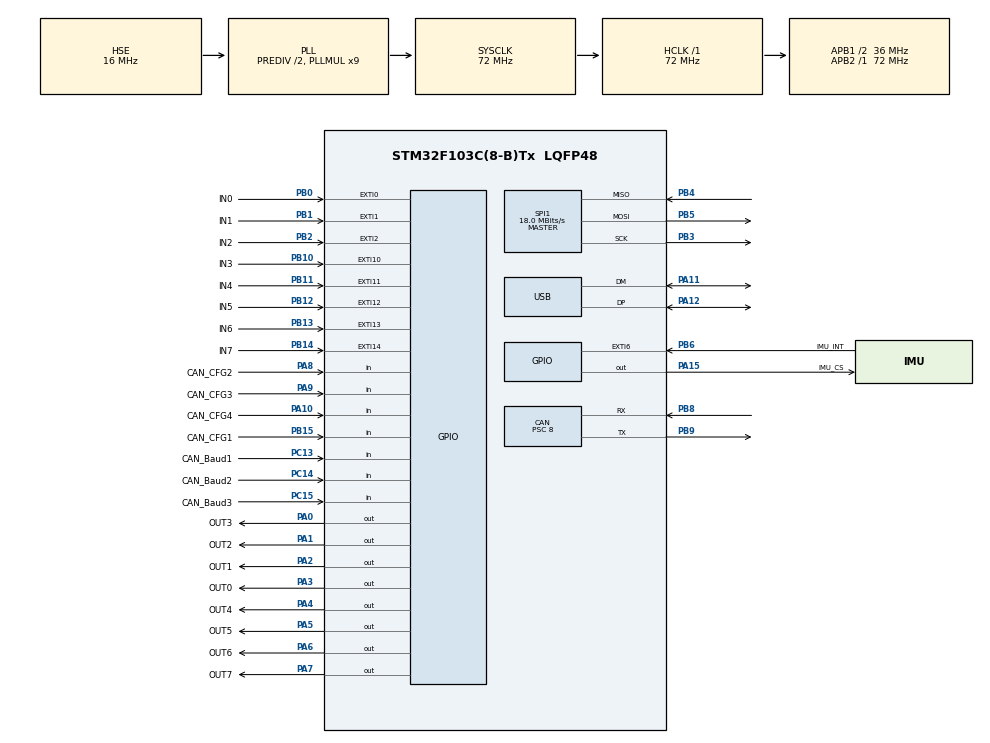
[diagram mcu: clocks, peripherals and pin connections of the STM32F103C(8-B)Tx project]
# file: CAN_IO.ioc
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CAN.BS1=CAN_BS1_5TQ
CAN.BS2=CAN_BS2_3TQ
CAN.CalculateBaudRate=500000
CAN.CalculateTimeBit=2000
CAN.CalculateTimeQuantum=222.22222222222223
CAN.Mode=CAN_MODE_NORMAL
CAN.Prescaler=8
Dma.Request0=SPI1_RX
Dma.Request1=SPI1_TX
Dma.SPI1_RX.0.Direction=DMA_PERIPH_TO_MEMORY
Dma.SPI1_RX.0.Instance=DMA1_Channel2
Dma.SPI1_RX.0.MemDataAlignment=DMA_MDATAALIGN_BYTE
Dma.SPI1_RX.0.MemInc=DMA_MINC_ENABLE
Dma.SPI1_RX.0.Mode=DMA_NORMAL
Dma.SPI1_RX.0.PeriphDataAlignment=DMA_PDATAALIGN_BYTE
Dma.SPI1_RX.0.PeriphInc=DMA_PINC_DISABLE
Dma.SPI1_RX.0.Priority=DMA_PRIORITY_MEDIUM
Dma.SPI1_TX.1.Direction=DMA_MEMORY_TO_PERIPH
Dma.SPI1_TX.1.Instance=DMA1_Channel3
Dma.SPI1_TX.1.MemDataAlignment=DMA_MDATAALIGN_BYTE
Dma.SPI1_TX.1.MemInc=DMA_MINC_ENABLE
Dma.SPI1_TX.1.Mode=DMA_NORMAL
Dma.SPI1_TX.1.PeriphDataAlignment=DMA_PDATAALIGN_BYTE
Dma.SPI1_TX.1.PeriphInc=DMA_PINC_DISABLE
Dma.SPI1_TX.1.Priority=DMA_PRIORITY_MEDIUM
Mcu.Family=STM32F1
Mcu.Name=STM32F103C(8-B)Tx
Mcu.Package=LQFP48
NVIC.CAN1_RX1_IRQn=true\:0\:0\:false\:false\:true\:true\:true\:true
NVIC.DMA1_Channel2_IRQn=true\:0\:0\:false\:false\:true\:false\:true\:true
NVIC.DMA1_Channel3_IRQn=true\:0\:0\:false\:false\:true\:false\:true\:true
NVIC.EXTI15_10_IRQn=true\:0\:0\:false\:false\:true\:true\:true\:true
NVIC.EXTI9_5_IRQn=true\:0\:0\:false\:false\:true\:true\:true\:true
NVIC.PriorityGroup=NVIC_PRIORITYGROUP_4
NVIC.TIM2_IRQn=true\:0\:0\:false\:false\:true\:true\:true\:true
NVIC.USB_LP_CAN1_RX0_IRQn=true\:0\:0\:false\:false\:true\:true\:true\:true
NimaLTD.I-CUBE-EE.3.2.2.DriverJjEE=true
NimaLTD.I-CUBE-EE.3.2.2.EE_MANUAL_CONFIG=false
PA0-WKUP.GPIO_Label=OUT3
PA0-WKUP.Signal=GPIO_Output
PA1.GPIO_Label=OUT2
PA1.PinState=GPIO_PIN_RESET
PA1.Signal=GPIO_Output
PA10.GPIO_Label=CAN_CFG4
PA10.GPIO_PuPd=GPIO_PULLUP
PA10.Signal=GPIO_Input
PA11.Mode=Device
PA11.Signal=USB_DM
PA12.Mode=Device
PA12.Signal=USB_DP
PA13.Mode=Serial_Wire
PA13.Signal=SYS_JTMS-SWDIO
PA14.Mode=Serial_Wire
PA14.Signal=SYS_JTCK-SWCLK
PA15.GPIO_Label=IMU_CS
PA15.PinState=GPIO_PIN_SET
PA15.Signal=GPIO_Output
PA2.GPIO_Label=OUT1
PA2.PinState=GPIO_PIN_RESET
PA2.Signal=GPIO_Output
PA3.GPIO_Label=OUT0
PA3.PinState=GPIO_PIN_RESET
PA3.Signal=GPIO_Output
PA4.GPIO_Label=OUT4
PA4.PinState=GPIO_PIN_RESET
PA4.Signal=GPIO_Output
PA5.GPIO_Label=OUT5
PA5.PinState=GPIO_PIN_RESET
PA5.Signal=GPIO_Output
PA6.GPIO_Label=OUT6
PA6.PinState=GPIO_PIN_RESET
PA6.Signal=GPIO_Output
PA7.GPIO_Label=OUT7
PA7.PinState=GPIO_PIN_RESET
PA7.Signal=GPIO_Output
PA8.GPIO_Label=CAN_CFG2
PA8.GPIO_PuPd=GPIO_PULLUP
PA8.Signal=GPIO_Input
PA9.GPIO_Label=CAN_CFG3
PA9.GPIO_PuPd=GPIO_PULLUP
PA9.Signal=GPIO_Input
PB0.GPIO_Label=IN0
PB0.Signal=GPXTI0
PB1.GPIO_Label=IN1
PB1.Signal=GPXTI1
PB10.GPIO_Label=IN3
PB10.Signal=GPXTI10
PB11.GPIO_Label=IN4
PB11.Signal=GPXTI11
PB12.GPIO_Label=IN5
PB12.Signal=GPXTI12
PB13.GPIO_Label=IN6
PB13.Signal=GPXTI13
PB14.GPIO_Label=IN7
PB14.Signal=GPXTI14
PB15.GPIO_Label=CAN_CFG1
PB15.Signal=GPIO_Input
PB2.GPIO_Label=IN2
PB2.Signal=GPXTI2
PB3.Mode=Full_Duplex_Master
PB3.Signal=SPI1_SCK
PB4.Mode=Full_Duplex_Master
PB4.Signal=SPI1_MISO
PB5.Mode=Full_Duplex_Master
PB5.Signal=SPI1_MOSI
PB6.GPIO_Label=IMU_INT
PB6.Signal=GPXTI6
PB8.Mode=CAN_Activate
PB8.Signal=CAN_RX
PB9.Mode=CAN_Activate
PB9.Signal=CAN_TX
PC13-TAMPER-RTC.GPIO_Label=CAN_Baud1
PC13-TAMPER-RTC.Signal=GPIO_Input
PC14-OSC32_IN.GPIO_Label=CAN_Baud2
PC14-OSC32_IN.Signal=GPIO_Input
PC15-OSC32_OUT.GPIO_Label=CAN_Baud3
PC15-OSC32_OUT.Signal=GPIO_Input
PD0-OSC_IN.Mode=HSE-External-Oscillator
PD0-OSC_IN.Signal=RCC_OSC_IN
PD1-OSC_OUT.Mode=HSE-External-Oscillator
PD1-OSC_OUT.Signal=RCC_OSC_OUT
ProjectManager.HeapSize=0x200
ProjectManager.StackSize=0x400
ProjectManager.TargetToolchain=STM32CubeIDE
RCC.AHBFreq_Value=72000000
RCC.APB1CLKDivider=RCC_HCLK_DIV2
RCC.APB1Freq_Value=36000000
RCC.APB1TimFreq_Value=72000000
RCC.APB2Freq_Value=72000000
RCC.APB2TimFreq_Value=72000000
RCC.HCLKFreq_Value=72000000
RCC.HSEDivPLL=RCC_HSE_PREDIV_DIV2
RCC.HSE_VALUE=16000000
RCC.PLLMUL=RCC_PLL_MUL9
RCC.PLLSourceVirtual=RCC_PLLSOURCE_HSE
RCC.SYSCLKFreq_VALUE=72000000
RCC.SYSCLKSource=RCC_SYSCLKSOURCE_PLLCLK
RCC.USBFreq_Value=48000000
RCC.USBPrescaler=RCC_USBCLKSOURCE_PLL_DIV1_5
SPI1.BaudRatePrescaler=SPI_BAUDRATEPRESCALER_4
SPI1.CalculateBaudRate=18.0 MBits/s
SPI1.Direction=SPI_DIRECTION_2LINES
SPI1.Mode=SPI_MODE_MASTER
SPI1.VirtualType=VM_MASTER
TIM2.AutoReloadPreload=TIM_AUTORELOAD_PRELOAD_ENABLE
TIM2.Period=1000-1
TIM2.Prescaler=72-1
USB_DEVICE.CLASS_NAME_FS=CDC
USB_DEVICE.VirtualMode=Cdc
USB_DEVICE.VirtualModeFS=Cdc_FS
VP_NimaLTD.I-CUBE-EE_VS_DriverJjEE_1.0.0_3.2.2.Mode=DriverJjEE
VP_TIM2_VS_ClockSourceINT.Mode=Internal
VP_USB_DEVICE_VS_USB_DEVICE_CDC_FS.Mode=CDC_FS
board=custom

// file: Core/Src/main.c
/* USER CODE BEGIN Header */
/**
  ******************************************************************************
  * @file           : main.c
  * @brief          : Main program body
  ******************************************************************************
  * @attention
  *
  * Copyright (c) 2024 STMicroelectronics.
  * All rights reserved.
  *
  * This software is licensed under terms that can be found in the LICENSE file
  * in the root directory of this software component.
  * If no LICENSE file comes with this software, it is provided AS-IS.
  *
  ******************************************************************************
  */
/* USER CODE END Header */
#include "main.h"
#include "usb_device.h"

/* USER CODE BEGIN Includes */
#include "hardware.h"
#include "usbd_cdc_if.h"
#include "string.h"
/* USER CODE END Includes */

CAN_HandleTypeDef hcan;

SPI_HandleTypeDef hspi1;
DMA_HandleTypeDef hdma_spi1_rx;
DMA_HandleTypeDef hdma_spi1_tx;

TIM_HandleTypeDef htim2;

void SystemClock_Config(void);
static void MX_GPIO_Init(void);
static void MX_DMA_Init(void);
static void MX_CAN_Init(void);
static void MX_SPI1_Init(void);
static void MX_TIM2_Init(void);

/* USER CODE BEGIN 0 */

// Debug used for USB testing
uint8_t tx_data_buffer[8];
uint8_t rx_data_buffer[2] = {0,0};
uint8_t count = 0;

/* USER CODE END 0 */

int main(void)
{

  /* MCU Configuration--------------------------------------------------------*/

  /* Reset of all peripherals, Initializes the Flash interface and the Systick. */
  HAL_Init();

  /* Configure the system clock */
  SystemClock_Config();

  /* Initialize all configured peripherals */
  MX_GPIO_Init();
  MX_DMA_Init();
  MX_CAN_Init();
  MX_SPI1_Init();
  MX_USB_DEVICE_Init();
  MX_TIM2_Init();
  /* USER CODE BEGIN 2 */
  hardware_init(&hcan,&hspi1);
//  setup_CAN_cfg();
//  HAL_CAN_Start(can.handler);
//  HAL_CAN_ActivateNotification(can.handler,CAN_IT_RX_FIFO1_MSG_PENDING);

  hardware.last_can_state_check_time = get_ms_timer();
  hardware.last_can_msg_time = get_ms_timer();
  hardware_monitoring();
//  can.state = CAN_STATE_OPERATIONAL;
//  can.target_state = CAN_STATE_OPERATIONAL;
  /* USER CODE END 2 */

  /* Infinite loop */
  /* USER CODE BEGIN WHILE */
  while (1)
  {
	  //test sends (DEBUG)
//	  if (diff_ms_timer(hardware.last_can_msg_time) >= 15){
//		  hardware.last_can_msg_time = get_ms_timer();
//
//		  tx_data_buffer[0] = 0x12;
//		  tx_data_buffer[1] = 0x23;
//		  tx_data_buffer[2] = 0x45;
//		  tx_data_buffer[3] = 0x56;
//		  tx_data_buffer[4] = 0x67;
//		  tx_data_buffer[5] = 0x78;
//		  tx_data_buffer[6] = 0x89;
//		  tx_data_buffer[7] = 0xAB;
//		  send_can_packet(TSDO, tx_data_buffer, 8);
//	  }

	  // ToDO:
	  // Create can_manager.c and .h file. Add tx buffer (T) Tested
	  // manage how to get data from structure and send (T)  Tested
	  // Handle pdo setup for interval based sends (T) Tested
	  // Handle pdo send on sync (T) Tested
	  // handle pdo on input change (T)
	  // handle pdo on threshold trigger (T)

	  // EEPROM;
	  // For each PDO store mapped indices and bytes per index
	  if (can.state == CAN_STATE_OPERATIONAL){
		  send_cyclic_pdo(&can.tpdo1);
		  send_cyclic_pdo(&can.tpdo2);
		  send_cyclic_pdo(&can.tpdo3);
		  send_cyclic_pdo(&can.tpdo4);

	  }

	  if (diff_ms_timer(hardware.last_save_config_check_time) >= 500){
		  hardware.last_save_config_check_time = get_ms_timer();
		  save_configuration();
	  }
	  if (diff_ms_timer(hardware.last_can_state_check_time) >= 200){
		  hardware.last_can_state_check_time = get_ms_timer();

		  can_state_manager();
	  }
    /* USER CODE END WHILE */

  }
}

void SystemClock_Config(void)
{
  RCC_OscInitTypeDef RCC_OscInitStruct = {0};
  RCC_ClkInitTypeDef RCC_ClkInitStruct = {0};
  RCC_PeriphCLKInitTypeDef PeriphClkInit = {0};

  /** Initializes the RCC Oscillators according to the specified parameters
  * in the RCC_OscInitTypeDef structure.
  */
  RCC_OscInitStruct.OscillatorType = RCC_OSCILLATORTYPE_HSE;
  RCC_OscInitStruct.HSEState = RCC_HSE_ON;
  RCC_OscInitStruct.HSEPredivValue = RCC_HSE_PREDIV_DIV2;
  RCC_OscInitStruct.HSIState = RCC_HSI_ON;
  RCC_OscInitStruct.PLL.PLLState = RCC_PLL_ON;
  RCC_OscInitStruct.PLL.PLLSource = RCC_PLLSOURCE_HSE;
  RCC_OscInitStruct.PLL.PLLMUL = RCC_PLL_MUL9;
  if (HAL_RCC_OscConfig(&RCC_OscInitStruct) != HAL_OK)
  {
    Error_Handler();
  }

  /** Initializes the CPU, AHB and APB buses clocks
  */
  RCC_ClkInitStruct.ClockType = RCC_CLOCKTYPE_HCLK|RCC_CLOCKTYPE_SYSCLK
                              |RCC_CLOCKTYPE_PCLK1|RCC_CLOCKTYPE_PCLK2;
  RCC_ClkInitStruct.SYSCLKSource = RCC_SYSCLKSOURCE_PLLCLK;
  RCC_ClkInitStruct.AHBCLKDivider = RCC_SYSCLK_DIV1;
  RCC_ClkInitStruct.APB1CLKDivider = RCC_HCLK_DIV2;
  RCC_ClkInitStruct.APB2CLKDivider = RCC_HCLK_DIV1;

  if (HAL_RCC_ClockConfig(&RCC_ClkInitStruct, FLASH_LATENCY_2) != HAL_OK)
  {
    Error_Handler();
  }
  PeriphClkInit.PeriphClockSelection = RCC_PERIPHCLK_USB;
  PeriphClkInit.UsbClockSelection = RCC_USBCLKSOURCE_PLL_DIV1_5;
  if (HAL_RCCEx_PeriphCLKConfig(&PeriphClkInit) != HAL_OK)
  {
    Error_Handler();
  }
}

static void MX_CAN_Init(void)
{

  hcan.Instance = CAN1;
  hcan.Init.Prescaler = 8;
  hcan.Init.Mode = CAN_MODE_NORMAL;
  hcan.Init.SyncJumpWidth = CAN_SJW_1TQ;
  hcan.Init.TimeSeg1 = CAN_BS1_5TQ;
  hcan.Init.TimeSeg2 = CAN_BS2_3TQ;
  hcan.Init.TimeTriggeredMode = DISABLE;
  hcan.Init.AutoBusOff = DISABLE;
  hcan.Init.AutoWakeUp = DISABLE;
  hcan.Init.AutoRetransmission = DISABLE;
  hcan.Init.ReceiveFifoLocked = DISABLE;
  hcan.Init.TransmitFifoPriority = DISABLE;
  if (HAL_CAN_Init(&hcan) != HAL_OK)
  {
    Error_Handler();
  }
  /* USER CODE BEGIN CAN_Init 2 */

//  CAN_FilterTypeDef can_filter_config;
//  can_filter_config.FilterActivation = CAN_FILTER_ENABLE;
//  can_filter_config.FilterBank = 10;
//  can_filter_config.FilterFIFOAssignment = CAN_RX_FIFO0;
//  can_filter_config.FilterMaskIdHigh = 0;
//  can_filter_config.FilterIdLow = 0x0000;
//  can_filter_config.FilterMode = CAN_FILTERMODE_IDMASK;
//  can_filter_config.FilterScale = CAN_FILTERSCALE_32BIT;
//  can_filter_config.SlaveStartFilterBank = 0;

//  HAL_CAN_ConfigFilter(&hcan,&can_filter_config);
  /* USER CODE END CAN_Init 2 */

}

static void MX_SPI1_Init(void)
{

  /* SPI1 parameter configuration*/
  hspi1.Instance = SPI1;
  hspi1.Init.Mode = SPI_MODE_MASTER;
  hspi1.Init.Direction = SPI_DIRECTION_2LINES;
  hspi1.Init.DataSize = SPI_DATASIZE_8BIT;
  hspi1.Init.CLKPolarity = SPI_POLARITY_LOW;
  hspi1.Init.CLKPhase = SPI_PHASE_1EDGE;
  hspi1.Init.NSS = SPI_NSS_SOFT;
  hspi1.Init.BaudRatePrescaler = SPI_BAUDRATEPRESCALER_4;
  hspi1.Init.FirstBit = SPI_FIRSTBIT_MSB;
  hspi1.Init.TIMode = SPI_TIMODE_DISABLE;
  hspi1.Init.CRCCalculation = SPI_CRCCALCULATION_DISABLE;
  hspi1.Init.CRCPolynomial = 10;
  if (HAL_SPI_Init(&hspi1) != HAL_OK)
  {
    Error_Handler();
  }

}

static void MX_TIM2_Init(void)
{

  TIM_ClockConfigTypeDef sClockSourceConfig = {0};
  TIM_MasterConfigTypeDef sMasterConfig = {0};

  htim2.Instance = TIM2;
  htim2.Init.Prescaler = 72-1;
  htim2.Init.CounterMode = TIM_COUNTERMODE_UP;
  htim2.Init.Period = 1000-1;
  htim2.Init.ClockDivision = TIM_CLOCKDIVISION_DIV1;
  htim2.Init.AutoReloadPreload = TIM_AUTORELOAD_PRELOAD_ENABLE;
  if (HAL_TIM_Base_Init(&htim2) != HAL_OK)
  {
    Error_Handler();
  }
  sClockSourceConfig.ClockSource = TIM_CLOCKSOURCE_INTERNAL;
  if (HAL_TIM_ConfigClockSource(&htim2, &sClockSourceConfig) != HAL_OK)
  {
    Error_Handler();
  }
  sMasterConfig.MasterOutputTrigger = TIM_TRGO_RESET;
  sMasterConfig.MasterSlaveMode = TIM_MASTERSLAVEMODE_DISABLE;
  if (HAL_TIMEx_MasterConfigSynchronization(&htim2, &sMasterConfig) != HAL_OK)
  {
    Error_Handler();
  }
  /* USER CODE BEGIN TIM2_Init 2 */
  HAL_TIM_Base_Start_IT(&htim2);
  /* USER CODE END TIM2_Init 2 */

}

static void MX_DMA_Init(void)
{

  /* DMA controller clock enable */
  __HAL_RCC_DMA1_CLK_ENABLE();

  /* DMA interrupt init */
  /* DMA1_Channel2_IRQn interrupt configuration */
  HAL_NVIC_SetPriority(DMA1_Channel2_IRQn, 0, 0);
  HAL_NVIC_EnableIRQ(DMA1_Channel2_IRQn);
  /* DMA1_Channel3_IRQn interrupt configuration */
  HAL_NVIC_SetPriority(DMA1_Channel3_IRQn, 0, 0);
  HAL_NVIC_EnableIRQ(DMA1_Channel3_IRQn);

}

static void MX_GPIO_Init(void)
{
  GPIO_InitTypeDef GPIO_InitStruct = {0};

  /* GPIO Ports Clock Enable */
  __HAL_RCC_GPIOC_CLK_ENABLE();
  __HAL_RCC_GPIOD_CLK_ENABLE();
  __HAL_RCC_GPIOA_CLK_ENABLE();
  __HAL_RCC_GPIOB_CLK_ENABLE();

  /*Configure GPIO pin Output Level */
  HAL_GPIO_WritePin(GPIOA, OUT3_Pin|OUT2_Pin|OUT1_Pin|OUT0_Pin
                          |OUT4_Pin|OUT5_Pin|OUT6_Pin|OUT7_Pin, GPIO_PIN_RESET);

  /*Configure GPIO pin Output Level */
  HAL_GPIO_WritePin(IMU_CS_GPIO_Port, IMU_CS_Pin, GPIO_PIN_SET);

  /*Configure GPIO pins : CAN_Baud1_Pin CAN_Baud2_Pin CAN_Baud3_Pin */
  GPIO_InitStruct.Pin = CAN_Baud1_Pin|CAN_Baud2_Pin|CAN_Baud3_Pin;
  GPIO_InitStruct.Mode = GPIO_MODE_INPUT;
  GPIO_InitStruct.Pull = GPIO_NOPULL;
  HAL_GPIO_Init(GPIOC, &GPIO_InitStruct);

  /*Configure GPIO pins : OUT3_Pin OUT2_Pin OUT1_Pin OUT0_Pin
                           OUT4_Pin OUT5_Pin OUT6_Pin OUT7_Pin
                           IMU_CS_Pin */
  GPIO_InitStruct.Pin = OUT3_Pin|OUT2_Pin|OUT1_Pin|OUT0_Pin
                          |OUT4_Pin|OUT5_Pin|OUT6_Pin|OUT7_Pin
                          |IMU_CS_Pin;
  GPIO_InitStruct.Mode = GPIO_MODE_OUTPUT_PP;
  GPIO_InitStruct.Pull = GPIO_NOPULL;
  GPIO_InitStruct.Speed = GPIO_SPEED_FREQ_LOW;
  HAL_GPIO_Init(GPIOA, &GPIO_InitStruct);

  /*Configure GPIO pins : IN0_Pin IN1_Pin IN2_Pin IN3_Pin
                           IN4_Pin IN5_Pin IN6_Pin IN7_Pin
                           IMU_INT_Pin */
  GPIO_InitStruct.Pin = IN0_Pin|IN1_Pin|IN2_Pin|IN3_Pin
                          |IN4_Pin|IN5_Pin|IN6_Pin|IN7_Pin
                          |IMU_INT_Pin;
  GPIO_InitStruct.Mode = GPIO_MODE_IT_RISING;
  GPIO_InitStruct.Pull = GPIO_NOPULL;
  HAL_GPIO_Init(GPIOB, &GPIO_InitStruct);

  /*Configure GPIO pin : CAN_CFG1_Pin */
  GPIO_InitStruct.Pin = CAN_CFG1_Pin;
  GPIO_InitStruct.Mode = GPIO_MODE_INPUT;
  GPIO_InitStruct.Pull = GPIO_NOPULL;
  HAL_GPIO_Init(CAN_CFG1_GPIO_Port, &GPIO_InitStruct);

  /*Configure GPIO pins : CAN_CFG2_Pin CAN_CFG3_Pin CAN_CFG4_Pin */
  GPIO_InitStruct.Pin = CAN_CFG2_Pin|CAN_CFG3_Pin|CAN_CFG4_Pin;
  GPIO_InitStruct.Mode = GPIO_MODE_INPUT;
  GPIO_InitStruct.Pull = GPIO_PULLUP;
  HAL_GPIO_Init(GPIOA, &GPIO_InitStruct);

  /* EXTI interrupt init*/
  HAL_NVIC_SetPriority(EXTI9_5_IRQn, 0, 0);
  HAL_NVIC_EnableIRQ(EXTI9_5_IRQn);

  HAL_NVIC_SetPriority(EXTI15_10_IRQn, 0, 0);
  HAL_NVIC_EnableIRQ(EXTI15_10_IRQn);

}

void Error_Handler(void)
{
  /* USER CODE BEGIN Error_Handler_Debug */
  /* User can add his own implementation to report the HAL error return state */
  __disable_irq();
  while (1)
  {
	  can.error |= ERROR_GENERIC;
  }
  /* USER CODE END Error_Handler_Debug */
}
